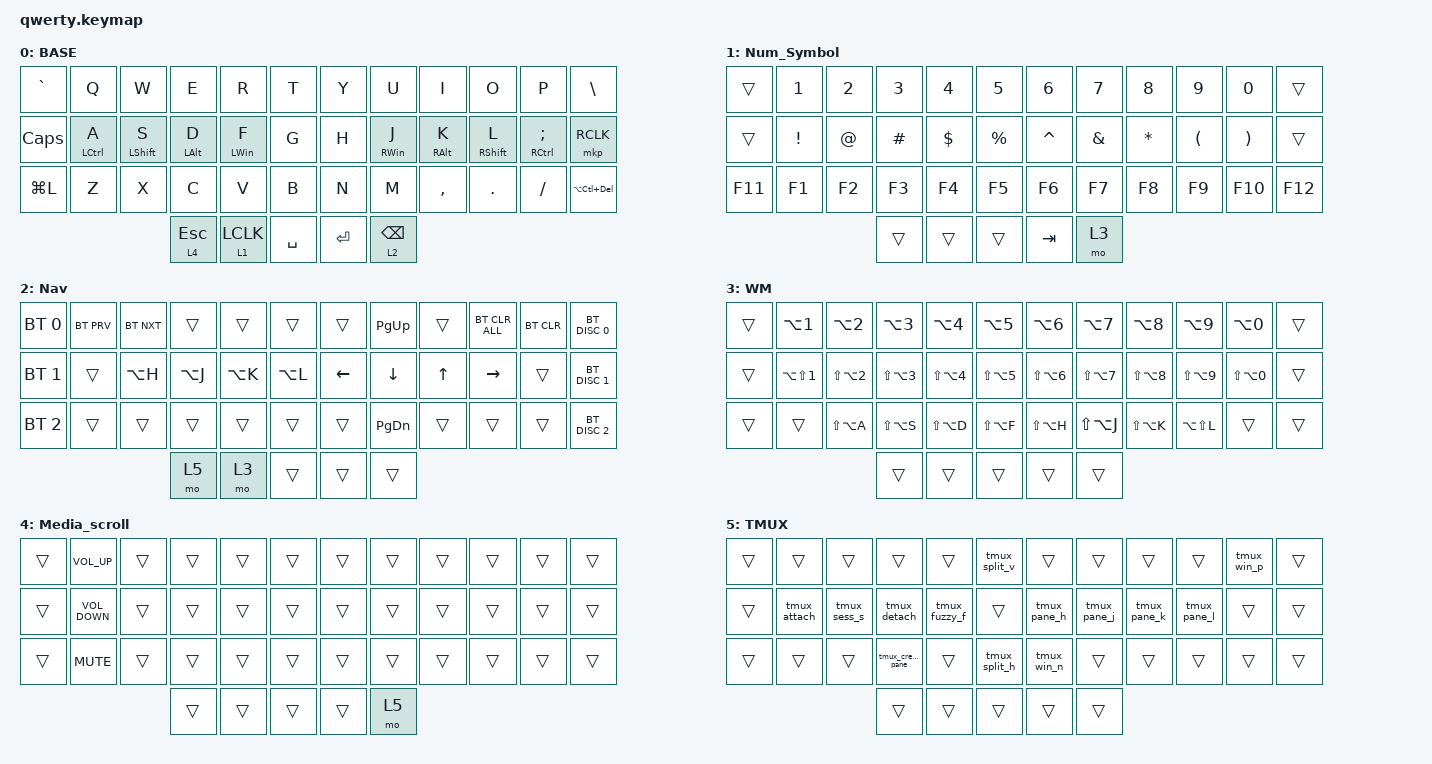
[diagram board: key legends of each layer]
/* upstream bindings and behaviors */

#include <dt-bindings/zmk/mouse.h>
#include <behaviors/mouse_keys.dtsi>
#include <behaviors.dtsi>
#include <dt-bindings/zmk/bt.h>
#include <dt-bindings/zmk/keys.h>
#include <dt-bindings/zmk/pointing.h>

/ {
    /* --- KEYMAP CONFIG --- */
    // ╭──────┬──────┬──────┬──────┬──────┬──────╮  ╭──────┬──────┬──────┬──────┬──────┬──────╮
    //    00     01     02     03    04      05        06     07     08     09     10     11
    // ├──────┼──────┼──────┼──────┼──────┼──────┤  ├──────┼──────┼──────┼──────┼──────┼──────┤
    //    12     13     14     15    16      17        18     19     20     21     22     23
    // ├──────┼──────┼──────┼──────┼──────┼──────┤  ├──────┼──────┼──────┼──────┼──────┼──────┤
    //    24     25     26     27    28      29        30     31     32     33     34     35
    // ╰──────┴──────┴──────┼──────┼──────┼──────┤  ├──────┼──────┼──────┴──────┴──────┴──────╯
    //                         36     37     38        39     40
    //                      ╰──────┴──────┴──────╯  ╰──────┴──────╯
    // #define BASE    0
    // #define NUM     1
    // #define NAV     2
    // #define SYM     3
    // #define GAME    4
    // #define EXTRAS  5
    // #define SLOW    6
    // #define SCROLL  7

    behaviors {
        home_row_mods: home_row_mods {
            compatible = "zmk,behavior-hold-tap";
            label = "HOME_ROW_MODS";
            bindings = <&kp>, <&kp>;

            #binding-cells = <2>;
            flavor = "tap-preferred";
            tapping-term-ms = <200>;
            quick-tap-ms = <180>;
        };

        mod_layer: mod_layer {
            compatible = "zmk,behavior-hold-tap";
            label = "MOD_LAYER";
            bindings = <&mo>, <&kp>;

            #binding-cells = <2>;
            tapping-term-ms = <200>;
            quick-tap-ms = <180>;
            flavor = "tap-preferred";
        };

        mod_layer_clk: mod_layer_clk {
            compatible = "zmk,behavior-hold-tap";
            label = "MOD_LAYER_CLK";
            bindings = <&mo>, <&mkp>;

            #binding-cells = <2>;
            tapping-term-ms = <200>;
            quick-tap-ms = <180>;
            flavor = "tap-preferred";
        };
    };

    macros {
        tmux_attach: tmux_attach {
            compatible = "zmk,behavior-macro";
            #binding-cells = <0>;
            bindings = <&kp T &kp A &kp ENTER>;
            label = "TMUX_ATTACH";
        };

        tmux_create_pane: tmux_create_pane {
            compatible = "zmk,behavior-macro";
            #binding-cells = <0>;
            bindings = <&kp LC(B) &kp C>;
            label = "TMUX_CREATE_PANE";
        };

        tmux_pane_h: new_macro {
            compatible = "zmk,behavior-macro";
            #binding-cells = <0>;
            bindings = <&kp LC(B) &kp LEFT>;
            label = "NEW_MACRO";
        };

        tmux_pane_j: tmux_pane_j {
            compatible = "zmk,behavior-macro";
            #binding-cells = <0>;
            bindings = <&kp LC(B) &kp DOWN>;
            label = "TMUX_PANE_J";
        };

        tmux_pane_k: tmux_pane_k {
            compatible = "zmk,behavior-macro";
            #binding-cells = <0>;
            bindings = <&kp LC(B) &kp UP>;
            label = "TMUX_PANE_K";
        };

        tmux_pane_l: tmux_pane_l {
            compatible = "zmk,behavior-macro";
            #binding-cells = <0>;
            bindings = <&kp LC(B) &kp RIGHT>;
            label = "TMUX_PANE_L";
        };

        tmux_win_n: tmux_win_n {
            compatible = "zmk,behavior-macro";
            #binding-cells = <0>;
            bindings = <&kp LC(B) &kp N>;
            label = "TMUX_WIN_N";
        };

        tmux_win_p: tmux_win_p {
            compatible = "zmk,behavior-macro";
            #binding-cells = <0>;
            bindings = <&kp LC(B) &kp P>;
            label = "TMUX_WIN_P";
        };

        tmux_sess_s: tmux_sess_s {
            compatible = "zmk,behavior-macro";
            #binding-cells = <0>;
            bindings = <&kp LC(B) &kp S>;
            label = "TMUX_SESS_S";
        };

        tmux_fuzzy_f: tmux_fuzzy_f {
            compatible = "zmk,behavior-macro";
            #binding-cells = <0>;
            bindings = <&kp LC(B) &kp LS(F)>;
            label = "TMUX_FUZZY_F";
        };

        tmux_detach: tmux_detach {
            compatible = "zmk,behavior-macro";
            #binding-cells = <0>;
            bindings = <&kp LC(B) &kp D>;
            label = "TMUX_DETACH";
        };

        tmux_split_v: tmux_split_v {
            compatible = "zmk,behavior-macro";
            #binding-cells = <0>;
            bindings = <&kp LC(B) &kp PERCENT>;
            label = "TMUX_SPLIT_V";
        };

        tmux_split_h: tmux_split_h {
            compatible = "zmk,behavior-macro";
            #binding-cells = <0>;
            bindings = <&kp LC(B) &kp DOUBLE_QUOTES>;
            label = "TMUX_SPLIT_H";
        };
    };

    combos {
        compatible = "zmk,combos";

        left_round_par {
            bindings = <&kp LEFT_PARENTHESIS>;
            key-positions = <7 8>;
        };

        right_round_par {
            bindings = <&kp RIGHT_PARENTHESIS>;
            key-positions = <9 10>;
        };

        right_curly_par {
            bindings = <&kp RIGHT_BRACE>;
            key-positions = <21 22>;
        };

        left_curly_par {
            bindings = <&kp LEFT_BRACE>;
            key-positions = <19 20>;
        };

        left_sqr_par {
            bindings = <&kp LEFT_BRACKET>;
            key-positions = <31 32>;
        };

        right_sqr_par {
            bindings = <&kp RIGHT_BRACKET>;
            key-positions = <33 34>;
        };

        equal_sign {
            bindings = <&kp EQUAL>;
            key-positions = <1 2>;
        };

        plus_sign {
            bindings = <&kp PLUS>;
            key-positions = <3 4>;
        };

        minus_sign {
            bindings = <&kp MINUS>;
            key-positions = <15 16>;
        };

        underscore_sign {
            bindings = <&kp LS(UNDERSCORE)>;
            key-positions = <13 14>;
        };

        double_qoutes {
            bindings = <&kp DOUBLE_QUOTES>;
            key-positions = <27 28>;
        };

        single_quotes {
            bindings = <&kp LS(SINGLE_QUOTE)>;
            key-positions = <25 26>;
        };
    };

    keymap {
        compatible = "zmk,keymap";

        BASE {
            bindings = <
&kp GRAVE     &kp Q                   &kp W                    &kp E                      &kp R                  &kp T        &kp Y      &kp U                       &kp I                       &kp O                         &kp P                                   &kp BACKSLASH
&kp CAPSLOCK  &home_row_mods LCTRL A  &home_row_mods LSHIFT S  &home_row_mods LEFT_ALT D  &home_row_mods LWIN F  &kp G        &kp H      &home_row_mods RIGHT_WIN J  &home_row_mods RIGHT_ALT K  &home_row_mods RIGHT_SHIFT L  &home_row_mods RIGHT_CONTROL SEMICOLON  &mkp RCLK
&kp LG(L)     &kp Z                   &kp X                    &kp C                      &kp V                  &kp B        &kp N      &kp M                       &kp COMMA                   &kp PERIOD                    &kp SLASH                               &kp LA(LC(DEL))
                                                               &mod_layer 4 ESC           &mod_layer_clk 1 LCLK  &kp SPACE    &kp ENTER  &mod_layer 2 BACKSPACE
            >;
        };

        Num_Symbol {
            bindings = <
&trans   &kp N1           &kp N2       &kp N3    &kp N4      &kp N5         &kp N6     &kp N7         &kp N8        &kp N9                &kp N0                 &trans
&trans   &kp EXCLAMATION  &kp AT_SIGN  &kp HASH  &kp DOLLAR  &kp PERCENT    &kp CARET  &kp AMPERSAND  &kp ASTERISK  &kp LEFT_PARENTHESIS  &kp RIGHT_PARENTHESIS  &trans
&kp F11  &kp F1           &kp F2       &kp F3    &kp F4      &kp F5         &kp F6     &kp F7         &kp F8        &kp F9                &kp F10                &kp F12
                                       &trans    &trans      &trans         &kp TAB    &mo 3
            >;
        };

        Nav {
            bindings = <
&bt BT_SEL 0  &bt BT_PRV  &bt BT_NXT  &trans     &trans     &trans       &trans    &kp PAGE_UP    &trans  &bt BT_CLR_ALL  &bt BT_CLR  &bt BT_DISC 0
&bt BT_SEL 1  &trans      &kp LA(H)   &kp LA(J)  &kp LA(K)  &kp LA(L)    &kp LEFT  &kp DOWN       &kp UP  &kp RIGHT       &trans      &bt BT_DISC 1
&bt BT_SEL 2  &trans      &trans      &trans     &trans     &trans       &trans    &kp PAGE_DOWN  &trans  &trans          &trans      &bt BT_DISC 2
                                      &mo 5      &mo 3      &trans       &trans    &trans
            >;
        };

        WM {
            bindings = <
&trans  &kp LA(N1)      &kp LA(N2)      &kp LA(N3)      &kp LA(N4)      &kp LA(N5)        &kp LA(N6)      &kp LA(N7)      &kp LA(N8)      &kp LA(N9)      &kp LA(N0)      &trans
&trans  &kp LA(LS(N1))  &kp LS(LA(N2))  &kp LS(LA(N3))  &kp LS(LA(N4))  &kp LS(LA(N5))    &kp LS(LA(N6))  &kp LS(LA(N7))  &kp LS(LA(N8))  &kp LS(LA(N9))  &kp LS(LA(N0))  &trans
&trans  &trans          &kp LS(LA(A))   &kp LS(LA(S))   &kp LS(LA(D))   &kp LS(LA(F))     &kp LS(LA(H))   &kp LS(LA(J))   &kp LS(LA(K))   &kp LA(LS(L))   &trans          &trans
                                        &trans          &trans          &trans            &trans          &trans
            >;
        };

        Media_scroll {
            bindings = <
&trans  &kp C_VOLUME_UP    &trans  &trans  &trans  &trans    &trans  &trans  &trans  &trans  &trans  &trans
&trans  &kp C_VOLUME_DOWN  &trans  &trans  &trans  &trans    &trans  &trans  &trans  &trans  &trans  &trans
&trans  &kp K_MUTE         &trans  &trans  &trans  &trans    &trans  &trans  &trans  &trans  &trans  &trans
                                   &trans  &trans  &trans    &trans  &mo 5
            >;
        };

        TMUX {
            bindings = <
&trans  &trans        &trans        &trans             &trans         &tmux_split_v    &trans        &trans        &trans        &trans        &tmux_win_p  &trans
&trans  &tmux_attach  &tmux_sess_s  &tmux_detach       &tmux_fuzzy_f  &trans           &tmux_pane_h  &tmux_pane_j  &tmux_pane_k  &tmux_pane_l  &trans       &trans
&trans  &trans        &trans        &tmux_create_pane  &trans         &tmux_split_h    &tmux_win_n   &trans        &trans        &trans        &trans       &trans
                                    &trans             &trans         &trans           &trans        &trans
            >;
        };
    };
};
